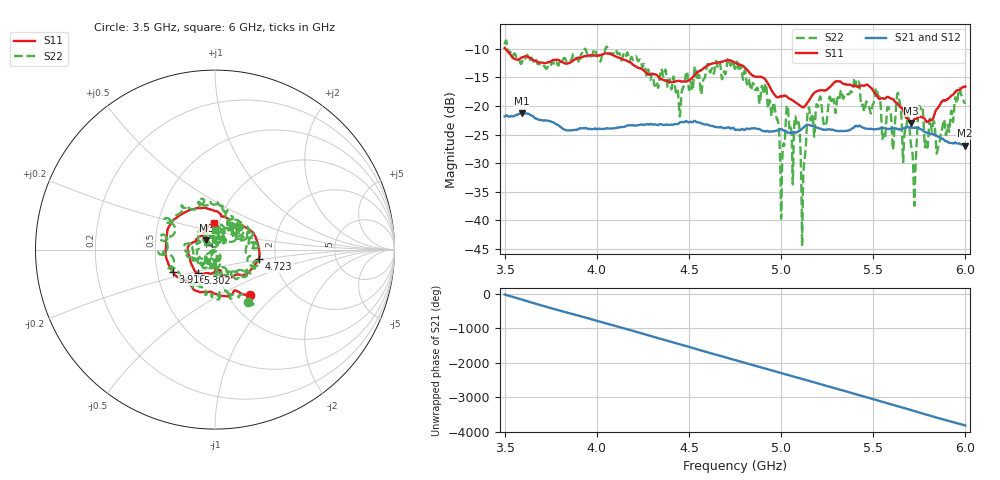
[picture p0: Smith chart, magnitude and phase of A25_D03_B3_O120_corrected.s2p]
! Created with skrf 1.9.0 (http://scikit-rf.org).
# Hz S RI R 50.0
!freq ReS11 ImS11 ReS21 ImS21 ReS12 ImS12 ReS22 ImS22
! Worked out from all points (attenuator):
!   1601 points, 3.5 GHz to 6 GHz, reference 50 ohm
!   highest |S21| = -21.30 dB at 3.592 GHz (marker M1); lowest = -26.9 dB at 5.997 GHz (marker M2)
!   lowest |S11| = -23.0 dB at 5.706 GHz (marker M3), VSWR 1.15, Z = 45.2 + j4.79 ohm
!   |S11| at or under -10 dB: 3.504 GHz to end of sweep
!   |S22| runs from -44.5 to -8.6 dB; largest |S21 - S12| = 0.00097
!   S11 on the Smith chart (normalised r, x): 3.5 GHz: 1.25, -0.71; 3.916 GHz: 0.60, -0.16; 4.723 GHz: 1.63, -0.18; 5.302 GHz: 0.80, -0.22; 6 GHz: 0.94, +0.28
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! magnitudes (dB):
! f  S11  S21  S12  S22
! 3.5 GHz  -9.9  -21.8  -21.8  -9.3
! 3.592 GHz  -11.6  -21.3  -21.3  -12.5
! 3.916 GHz  -11.5  -23.9  -23.9  -11.0
! 3.917 GHz  -11.5  -23.9  -23.9  -10.8
! 4.334 GHz  -14.9  -23.3  -23.3  -16.8
! 4.723 GHz  -12.1  -23.9  -23.8  -12.9
! 4.75 GHz  -12.5  -24.2  -24.1  -13.6
! 4.967 GHz  -18.2  -24.4  -24.4  -20.7
! 5.005 GHz  -18.3  -24.1  -24.1  -31.5
! 5.031 GHz  -18.4  -24.6  -24.5  -20.1
! 5.086 GHz  -19.5  -24.6  -24.6  -23.4
! 5.119 GHz  -20.2  -23.8  -23.7  -34.3
! 5.145 GHz  -19.3  -23.3  -23.2  -20.8
! 5.167 GHz  -18.2  -23.5  -23.4  -21.5
! 5.302 GHz  -15.7  -24.3  -24.3  -19.6
! 5.584 GHz  -18.5  -24.0  -24.0  -20.4
! 5.706 GHz  -23.0  -23.8  -23.8  -27.2
! 5.725 GHz  -22.3  -23.8  -23.8  -35.7
! 5.756 GHz  -21.9  -24.1  -24.0  -20.5
! 5.852 GHz  -20.3  -25.4  -25.3  -27.3
! 5.997 GHz  -16.7  -26.9  -26.9  -19.5
! 6 GHz  -16.6  -26.9  -26.9  -19.4
